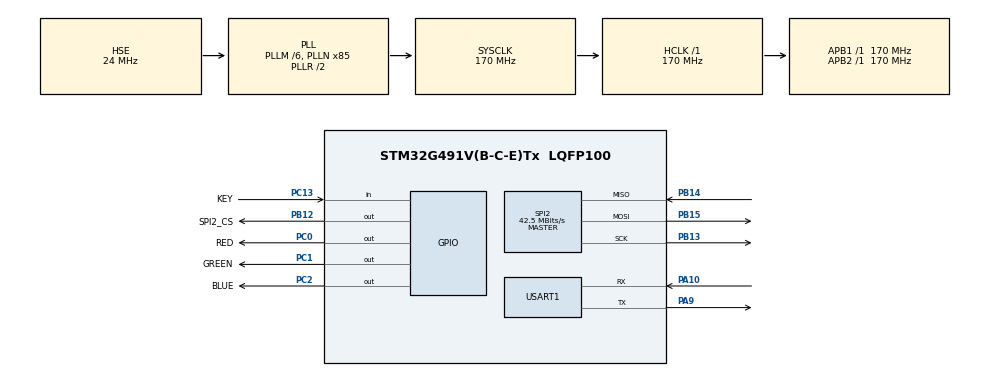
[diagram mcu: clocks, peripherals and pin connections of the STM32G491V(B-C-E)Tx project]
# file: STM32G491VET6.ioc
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Mcu.Family=STM32G4
Mcu.Name=STM32G491V(B-C-E)Tx
Mcu.Package=LQFP100
NVIC.PriorityGroup=NVIC_PRIORITYGROUP_4
NVIC.USART1_IRQn=true\:0\:0\:false\:false\:true\:true\:true\:true
PA10.Mode=Asynchronous
PA10.Signal=USART1_RX
PA13.Mode=Serial_Wire
PA13.Signal=SYS_JTMS-SWDIO
PA14.Mode=Serial_Wire
PA14.Signal=SYS_JTCK-SWCLK
PA9.Mode=Asynchronous
PA9.Signal=USART1_TX
PC0.GPIO_Label=RED
PC0.GPIO_PuPd=GPIO_PULLUP
PC0.GPIO_Speed=GPIO_SPEED_FREQ_VERY_HIGH
PC0.PinState=GPIO_PIN_SET
PC0.Signal=GPIO_Output
PC1.GPIO_Label=GREEN
PC1.GPIO_PuPd=GPIO_PULLUP
PC1.GPIO_Speed=GPIO_SPEED_FREQ_VERY_HIGH
PC1.PinState=GPIO_PIN_SET
PC1.Signal=GPIO_Output
PC2.GPIO_Label=BLUE
PC2.GPIO_PuPd=GPIO_PULLUP
PC2.GPIO_Speed=GPIO_SPEED_FREQ_VERY_HIGH
PC2.PinState=GPIO_PIN_SET
PC2.Signal=GPIO_Output
PB12.GPIO_Label=SPI2_CS
PB12.GPIO_PuPd=GPIO_NOPULL
PB12.GPIO_Speed=GPIO_SPEED_FREQ_VERY_HIGH
PB12.PinState=GPIO_PIN_SET
PB12.Signal=GPIO_Output
PB13.GPIO_PuPd=GPIO_PULLUP
PB13.GPIO_Speed=GPIO_SPEED_FREQ_VERY_HIGH
PB13.Mode=Full_Duplex_Master
PB13.Signal=SPI2_SCK
PB14.GPIO_PuPd=GPIO_PULLUP
PB14.GPIO_Speed=GPIO_SPEED_FREQ_VERY_HIGH
PB14.Mode=Full_Duplex_Master
PB14.Signal=SPI2_MISO
PB15.GPIO_PuPd=GPIO_PULLUP
PB15.GPIO_Speed=GPIO_SPEED_FREQ_VERY_HIGH
PB15.Mode=Full_Duplex_Master
PB15.Signal=SPI2_MOSI
PC13.GPIO_Label=KEY
PC13.GPIO_PuPd=GPIO_PULLUP
PC13.Signal=GPIO_Input
PF0-OSC_IN.Mode=HSE-External-Oscillator
PF0-OSC_IN.Signal=RCC_OSC_IN
PF1-OSC_OUT.Mode=HSE-External-Oscillator
PF1-OSC_OUT.Signal=RCC_OSC_OUT
ProjectManager.HeapSize=0x200
ProjectManager.StackSize=0x400
ProjectManager.TargetToolchain=MDK-ARM V5.32
SPI2.BaudRatePrescaler=SPI_BAUDRATEPRESCALER_4
SPI2.CLKPhase=SPI_PHASE_2EDGE
SPI2.CLKPolarity=SPI_POLARITY_HIGH
SPI2.CRCCalculation=SPI_CRCCALCULATION_DISABLE
SPI2.CalculateBaudRate=42.5 MBits/s
SPI2.DataSize=SPI_DATASIZE_8BIT
SPI2.Direction=SPI_DIRECTION_2LINES
SPI2.FirstBit=SPI_FIRSTBIT_MSB
SPI2.Mode=SPI_MODE_MASTER
SPI2.NSS=SPI_NSS_SOFT
SPI2.TIMode=SPI_TIMODE_DISABLE
SPI2.VirtualType=VM_MASTER
RCC.ADC12Freq_Value=170000000
RCC.ADC345Freq_Value=170000000
RCC.AHBFreq_Value=170000000
RCC.APB1Freq_Value=170000000
RCC.APB1TimFreq_Value=170000000
RCC.APB2Freq_Value=170000000
RCC.APB2TimFreq_Value=170000000
RCC.CortexFreq_Value=170000000
RCC.EXTERNAL_CLOCK_VALUE=12288000
RCC.HCLKFreq_Value=170000000
RCC.HSE_VALUE=24000000
RCC.HSI48_VALUE=48000000
RCC.HSI_VALUE=16000000
RCC.LSE_VALUE=32768
RCC.PLLM=RCC_PLLM_DIV6
RCC.PLLN=85
RCC.PLLSourceVirtual=RCC_PLLSOURCE_HSE
RCC.SYSCLKFreq_VALUE=170000000
RCC.SYSCLKSource=RCC_SYSCLKSOURCE_PLLCLK
RCC.USBFreq_Value=170000000
RCC.VCOOutputFreq_Value=340000000
USART1.VirtualMode-Asynchronous=VM_ASYNC
VP_SYS_VS_DBSignals.Mode=DisableDeadBatterySignals
board=custom

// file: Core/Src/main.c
/* USER CODE BEGIN Header */
/**
  ******************************************************************************
  * @file           : main.c
  * @brief          : Main program body
  ******************************************************************************
  * @attention
  *
  * Copyright (c) 2026 STMicroelectronics.
  * All rights reserved.
  *
  * This software is licensed under terms that can be found in the LICENSE file
  * in the root directory of this software component.
  * If no LICENSE file comes with this software, it is provided AS-IS.
  *
  ******************************************************************************
  */
/* USER CODE END Header */
#include "main.h"
#include "usart.h"
#include "gpio.h"
#include "spi.h"

/* USER CODE BEGIN Includes */
#include <string.h>
#include <stdlib.h>
#include "stdio.h"
#include <sfud.h>

/* USER CODE END Includes */

void SystemClock_Config(void);

/* USER CODE BEGIN 0 */
int fputc(int ch, FILE *f)
{
	HAL_UART_Transmit(&huart1, (uint8_t *)&ch, 1, 0xFFFF);
	return ch;
}

uint8_t rx1_buf;

/**
	* @brief          串口接收中断回调函数
  * @param[in]     	huart 串口句柄
  * @retval         none
  */
void HAL_UART_RxCpltCallback(UART_HandleTypeDef *huart)
{

	if(huart->Instance==USART1)
	{
		HAL_UART_Receive_IT(&huart1, &rx1_buf, 1);

		HAL_UART_Transmit(&huart1, &rx1_buf, 1, 1000);

	}

}

#define SFUD_DEMO_TEST_BUFFER_SIZE  1024
static uint8_t sfud_demo_test_buf[SFUD_DEMO_TEST_BUFFER_SIZE];

void sfud_demo(uint32_t addr, size_t size, uint8_t *data)
{
    sfud_err result = SFUD_SUCCESS;
    const sfud_flash *flash = sfud_get_device(SFUD_W25_DEVICE_INDEX);
    size_t i;
    for (i = 0; i < size; i++)
    {
        data[i] = i;
    }
    result = sfud_erase(flash, addr, size);
    if (result == SFUD_SUCCESS)
    {
        printf("Erase the %s flash data finish. Start from 0x%08X, size is %zu.\r\n", flash->name, addr, size);
    }
    else
    {
        printf("Erase the %s flash data failed.\r\n", flash->name);
        return;
    }
    result = sfud_write(flash, addr, size, data);
    if (result == SFUD_SUCCESS)
    {
        printf("Write the %s flash data finish. Start from 0x%08X, size is %zu.\r\n", flash->name, addr, size);
    }
    else
    {
        printf("Write the %s flash data failed.\r\n", flash->name);
        return;
    }
    result = sfud_read(flash, addr, size, data);
    if (result == SFUD_SUCCESS)
    {
        printf("Read the %s flash data success. Start from 0x%08X, size is %zu.\r\n", flash->name, addr, size);
        for (i = 0; i < size; i++)
        {
            if (i % 16 == 0)
            {
                printf("[%08X] ", addr + i);
            }
            printf("%02X ", data[i]);
            if (((i + 1) % 16 == 0) || i == size - 1)
            {
                printf("\r\n");
            }
        }
        printf("\r\n");
    }
    else
    {
        printf("Read the %s flash data failed.\r\n", flash->name);
    }
    for (i = 0; i < size; i++)
    {
        if (data[i] != i % 256)
        {
            printf("Read and check write data has an error.\r\n");
            break;
        }
    }
    if (i == size)
    {
        printf("The %s flash test is success.\r\n", flash->name);
        HAL_GPIO_WritePin(GREEN_GPIO_Port, GREEN_Pin, GPIO_PIN_RESET);
    }
}
/* USER CODE END 0 */

int main(void)
{

  /* MCU Configuration--------------------------------------------------------*/

  /* Reset of all peripherals, Initializes the Flash interface and the Systick. */
  HAL_Init();

  /* Configure the system clock */
  SystemClock_Config();

  /* Initialize all configured peripherals */
  MX_GPIO_Init();
  MX_USART1_UART_Init();
  MX_SPI2_Init();
  /* USER CODE BEGIN 2 */
	printf("hello world! \r\n");
	HAL_UART_Receive_IT(&huart1, &rx1_buf, 1);
	if (sfud_init() == SFUD_SUCCESS)
	{
		sfud_demo(0, sizeof(sfud_demo_test_buf), sfud_demo_test_buf);
	}
	else
	{
		HAL_GPIO_WritePin(RED_GPIO_Port, RED_Pin, GPIO_PIN_RESET);
	}
  /* USER CODE END 2 */

  /* Infinite loop */
  /* USER CODE BEGIN WHILE */
  while (1)
  {
		HAL_GPIO_TogglePin(RED_GPIO_Port,RED_Pin);
		HAL_GPIO_TogglePin(GREEN_GPIO_Port,GREEN_Pin);
		HAL_GPIO_TogglePin(BLUE_GPIO_Port,BLUE_Pin);
		HAL_Delay(500);
    /* USER CODE END WHILE */

  }
}

void SystemClock_Config(void)
{
  RCC_OscInitTypeDef RCC_OscInitStruct = {0};
  RCC_ClkInitTypeDef RCC_ClkInitStruct = {0};

  /** Configure the main internal regulator output voltage
  */
  HAL_PWREx_ControlVoltageScaling(PWR_REGULATOR_VOLTAGE_SCALE1_BOOST);

  /** Initializes the RCC Oscillators according to the specified parameters
  * in the RCC_OscInitTypeDef structure.
  */
  RCC_OscInitStruct.OscillatorType = RCC_OSCILLATORTYPE_HSE;
  RCC_OscInitStruct.HSEState = RCC_HSE_ON;
  RCC_OscInitStruct.PLL.PLLState = RCC_PLL_ON;
  RCC_OscInitStruct.PLL.PLLSource = RCC_PLLSOURCE_HSE;
  RCC_OscInitStruct.PLL.PLLM = RCC_PLLM_DIV6;
  RCC_OscInitStruct.PLL.PLLN = 85;
  RCC_OscInitStruct.PLL.PLLP = RCC_PLLP_DIV2;
  RCC_OscInitStruct.PLL.PLLQ = RCC_PLLQ_DIV2;
  RCC_OscInitStruct.PLL.PLLR = RCC_PLLR_DIV2;
  if (HAL_RCC_OscConfig(&RCC_OscInitStruct) != HAL_OK)
  {
    Error_Handler();
  }

  /** Initializes the CPU, AHB and APB buses clocks
  */
  RCC_ClkInitStruct.ClockType = RCC_CLOCKTYPE_HCLK|RCC_CLOCKTYPE_SYSCLK
                              |RCC_CLOCKTYPE_PCLK1|RCC_CLOCKTYPE_PCLK2;
  RCC_ClkInitStruct.SYSCLKSource = RCC_SYSCLKSOURCE_PLLCLK;
  RCC_ClkInitStruct.AHBCLKDivider = RCC_SYSCLK_DIV1;
  RCC_ClkInitStruct.APB1CLKDivider = RCC_HCLK_DIV1;
  RCC_ClkInitStruct.APB2CLKDivider = RCC_HCLK_DIV1;

  if (HAL_RCC_ClockConfig(&RCC_ClkInitStruct, FLASH_LATENCY_4) != HAL_OK)
  {
    Error_Handler();
  }
}

void Error_Handler(void)
{
  __disable_irq();
  while (1)
  {
  }
}
